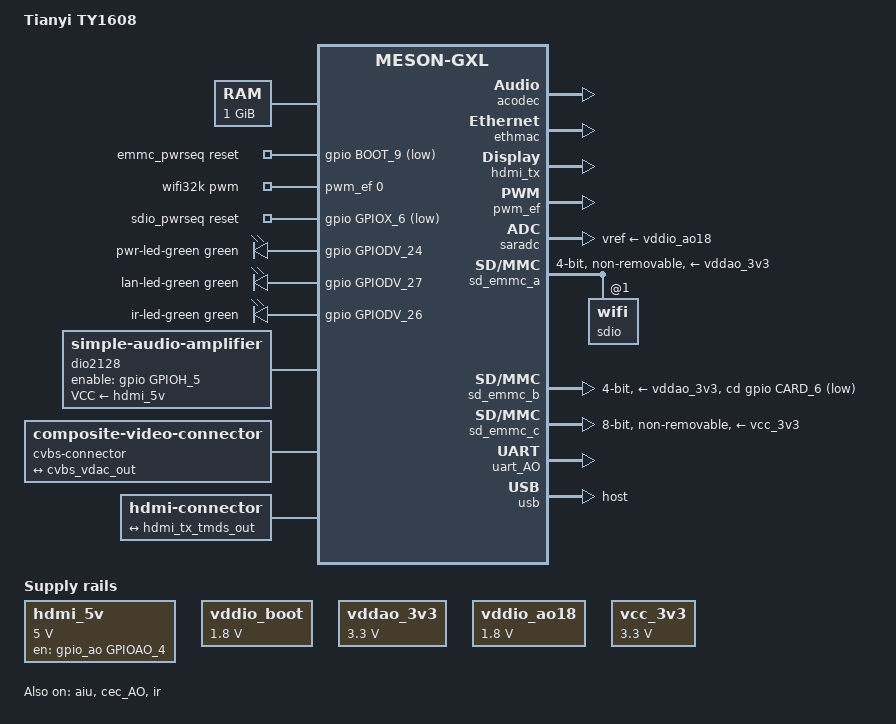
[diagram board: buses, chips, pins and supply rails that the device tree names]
// SPDX-License-Identifier: (GPL-2.0+ OR MIT)

/dts-v1/;

#include "meson-gxlx2-s905l3.dtsi"
#include <dt-bindings/sound/meson-aiu.h>
#include <dt-bindings/input/input.h>
#include <dt-bindings/leds/common.h>
#include <dt-bindings/mmc/meson-gx-mmc.h>

/ {
	compatible = "tianyi,ty1608", "amlogic,s905x", "amlogic,meson-gxl";
	model = "Tianyi TY1608";

	aliases {
		serial0 = &uart_AO;
		ethernet0 = &ethmac;
		rtc1 = &vrtc;
	};

	chosen {
		stdout-path = "serial0:115200n8";
	};

	memory@0 {
		device_type = "memory";
		reg = <0x0 0x0 0x0 0x40000000>;
	};

	hdmi_5v: regulator-hdmi-5v {
		compatible = "regulator-fixed";

		regulator-name = "HDMI_5V";
		regulator-min-microvolt = <5000000>;
		regulator-max-microvolt = <5000000>;

		gpio = <&gpio_ao GPIOAO_4 GPIO_ACTIVE_HIGH>;
		enable-active-high;
		regulator-always-on;
	};

	vddio_boot: regulator-vddio-boot {
		compatible = "regulator-fixed";
		regulator-name = "VDDIO_BOOT";
		regulator-min-microvolt = <1800000>;
		regulator-max-microvolt = <1800000>;
	};

	vddao_3v3: regulator-vddao-3v3 {
		compatible = "regulator-fixed";
		regulator-name = "VDDAO_3V3";
		regulator-min-microvolt = <3300000>;
		regulator-max-microvolt = <3300000>;
	};

	vddio_ao18: regulator-vddio-ao18 {
		compatible = "regulator-fixed";
		regulator-name = "VDDIO_AO18";
		regulator-min-microvolt = <1800000>;
		regulator-max-microvolt = <1800000>;
	};

	vcc_3v3: regulator-vcc-3v3 {
		compatible = "regulator-fixed";
		regulator-name = "VCC_3V3";
		regulator-min-microvolt = <3300000>;
		regulator-max-microvolt = <3300000>;
	};

	emmc_pwrseq: emmc-pwrseq {
		compatible = "mmc-pwrseq-emmc";
		reset-gpios = <&gpio BOOT_9 GPIO_ACTIVE_LOW>;
	};

	wifi32k: wifi32k {
		compatible = "pwm-clock";
		#clock-cells = <0>;
		clock-frequency = <32768>;
		pwms = <&pwm_ef 0 30518 0>; /* PWM_E at 32.768KHz */
	};

	sdio_pwrseq: sdio-pwrseq {
		compatible = "mmc-pwrseq-simple";
		reset-gpios = <&gpio GPIOX_6 GPIO_ACTIVE_LOW>;
		clocks = <&wifi32k>;
		clock-names = "ext_clock";
	};

	gpio-leds {
		compatible = "gpio-leds";

		/*
		 * The power LED on the device is always on, defaulting to red.
		 * Pulling GPIODV_24 high changes it to green, indicating that the kernel has started.
		 */
		pwr-led-green {
			function = LED_FUNCTION_POWER;
			color = <LED_COLOR_ID_GREEN>;
			gpios = <&gpio GPIODV_24 GPIO_ACTIVE_HIGH>;
			default-state = "on";
		};

		/*
		 * modprobe ledtrig-netdev
		 * echo netdev > /sys/class/leds/green\:lan/trigger
		 * echo wlan0 > /sys/class/leds/green\:lan/device_name
		 *
		 * echo 1 > /sys/class/leds/green\:lan/link
		 * or
		 * echo 1 > /sys/class/leds/green\:lan/rx
		 */
		lan-led-green {
			function = LED_FUNCTION_LAN;
			color = <LED_COLOR_ID_GREEN>;
			gpios = <&gpio GPIODV_27 GPIO_ACTIVE_HIGH>;
			default-state = "off";
			linux,default-trigger = "netdev";
		};

		ir-led-green {
			function = LED_FUNCTION_STATUS;
			color = <LED_COLOR_ID_GREEN>;
			gpios = <&gpio GPIODV_26 GPIO_ACTIVE_HIGH>;
			default-state = "on";
		};
	};

	dio2128: analog-amplifier {
		compatible = "simple-audio-amplifier";
		sound-name-prefix = "AU2";
		VCC-supply = <&hdmi_5v>;
		enable-gpios = <&gpio GPIOH_5 GPIO_ACTIVE_HIGH>;
	};

	cvbs-connector {
		compatible = "composite-video-connector";

		port {
			cvbs_connector_in: endpoint {
				remote-endpoint = <&cvbs_vdac_out>;
			};
		};
	};

	hdmi-connector {
		compatible = "hdmi-connector";
		type = "a";

		port {
			hdmi_connector_in: endpoint {
				remote-endpoint = <&hdmi_tx_tmds_out>;
			};
		};
	};

	sound {
		compatible = "amlogic,gx-sound-card";
		model = "S905X-P212";
		audio-aux-devs = <&dio2128>;
		audio-widgets = "Line", "Lineout";
		audio-routing = "AU2 INL", "ACODEC LOLN",
				"AU2 INR", "ACODEC LORN",
				"Lineout", "AU2 OUTL",
				"Lineout", "AU2 OUTR";
		clocks = <&clkc CLKID_MPLL0>,
			 <&clkc CLKID_MPLL1>,
			 <&clkc CLKID_MPLL2>;

		assigned-clocks = <&clkc CLKID_MPLL0>,
				  <&clkc CLKID_MPLL1>,
				  <&clkc CLKID_MPLL2>;
		assigned-clock-parents = <0>, <0>, <0>;
		assigned-clock-rates = <294912000>,
				       <270950400>,
				       <393216000>;
		dai-link-0 {
			sound-dai = <&aiu AIU_CPU CPU_I2S_FIFO>;
		};

		dai-link-1 {
			sound-dai = <&aiu AIU_CPU CPU_I2S_ENCODER>;
			dai-format = "i2s";
			mclk-fs = <256>;

			codec-0 {
				sound-dai = <&aiu AIU_HDMI CTRL_I2S>;
			};

			codec-1 {
				sound-dai = <&aiu AIU_ACODEC CTRL_I2S>;
			};
		};

		dai-link-2 {
			sound-dai = <&aiu AIU_HDMI CTRL_OUT>;

			codec-0 {
				sound-dai = <&hdmi_tx>;
			};
		};

		dai-link-3 {
			sound-dai = <&aiu AIU_ACODEC CTRL_OUT>;

			codec-0 {
				sound-dai = <&acodec>;
			};
		};
	};
};

&acodec {
	AVDD-supply = <&vddio_ao18>;
	status = "okay";
};

&aiu {
	status = "okay";
};

&cec_AO {
	status = "okay";
	pinctrl-0 = <&ao_cec_pins>;
	pinctrl-names = "default";
	hdmi-phandle = <&hdmi_tx>;
};

&cvbs_vdac_port {
	cvbs_vdac_out: endpoint {
		remote-endpoint = <&cvbs_connector_in>;
	};
};

&ethmac {
	status = "okay";
};

&hdmi_tx {
	pinctrl-0 = <&hdmi_hpd_pins>, <&hdmi_i2c_pins>;
	pinctrl-names = "default";
	hdmi-supply = <&hdmi_5v>;
	status = "okay";
};

&hdmi_tx_tmds_out {
	remote-endpoint = <&hdmi_connector_in>;
};

&ir {
	status = "okay";
	pinctrl-0 = <&remote_input_ao_pins>;
	pinctrl-names = "default";
};

&pwm_ef {
	status = "okay";
	pinctrl-0 = <&pwm_e_pins>;
	pinctrl-names = "default";
};

&saradc {
	status = "okay";
	vref-supply = <&vddio_ao18>;
};

/* Wireless SDIO Module */
&sd_emmc_a {
	status = "okay";
	pinctrl-0 = <&sdio_pins>;
	pinctrl-1 = <&sdio_clk_gate_pins>;
	pinctrl-names = "default", "clk-gate";
	#address-cells = <1>;
	#size-cells = <0>;

	bus-width = <4>;
	cap-sd-highspeed;
	sd-uhs-sdr12;
	sd-uhs-sdr25;
	sd-uhs-sdr50;
	sd-uhs-sdr104;
	max-frequency = <100000000>;

	non-removable;
	disable-wp;

	/* WiFi firmware requires power to be kept while in suspend */
	keep-power-in-suspend;

	mmc-pwrseq = <&sdio_pwrseq>;

	vmmc-supply = <&vddao_3v3>;
	vqmmc-supply = <&vddio_boot>;

	sdio: wifi@1 {
		reg = <1>;
	};
};

/* SD card */
&sd_emmc_b {
	status = "okay";
	pinctrl-0 = <&sdcard_pins>;
	pinctrl-1 = <&sdcard_clk_gate_pins>;
	pinctrl-names = "default", "clk-gate";

	bus-width = <4>;
	cap-sd-highspeed;
	max-frequency = <50000000>;
	amlogic,mmc-phase = <CLK_PHASE_270 CLK_PHASE_0 CLK_PHASE_0>;
	disable-wp;

	cd-gpios = <&gpio CARD_6 GPIO_ACTIVE_LOW>;

	vmmc-supply = <&vddao_3v3>;
	vqmmc-supply = <&vddio_boot>;
};

/* eMMC */
&sd_emmc_c {
	status = "okay";
	pinctrl-0 = <&emmc_pins>, <&emmc_ds_pins>;
	pinctrl-1 = <&emmc_clk_gate_pins>;
	pinctrl-names = "default", "clk-gate";

	bus-width = <8>;
	cap-mmc-highspeed;
	max-frequency = <200000000>;
	non-removable;
	disable-wp;
	mmc-ddr-1_8v;
	mmc-hs200-1_8v;

	mmc-pwrseq = <&emmc_pwrseq>;
	vmmc-supply = <&vcc_3v3>;
	vqmmc-supply = <&vddio_boot>;
};

/* The MT7668RSN uses SDIO rather than UART for Bluetooth communication. */
&uart_A {
	status = "disabled";
	pinctrl-0 = <&uart_a_pins>, <&uart_a_cts_rts_pins>;
	pinctrl-names = "default";
	uart-has-rtscts;
};

&uart_AO {
	status = "okay";
	pinctrl-0 = <&uart_ao_a_pins>;
	pinctrl-names = "default";
};

&usb {
	status = "okay";
	dr_mode = "host";
};

&usb2_phy0 {
	/*
	 * HDMI_5V is also used as supply for the USB VBUS.
	 */
	phy-supply = <&hdmi_5v>;
};
